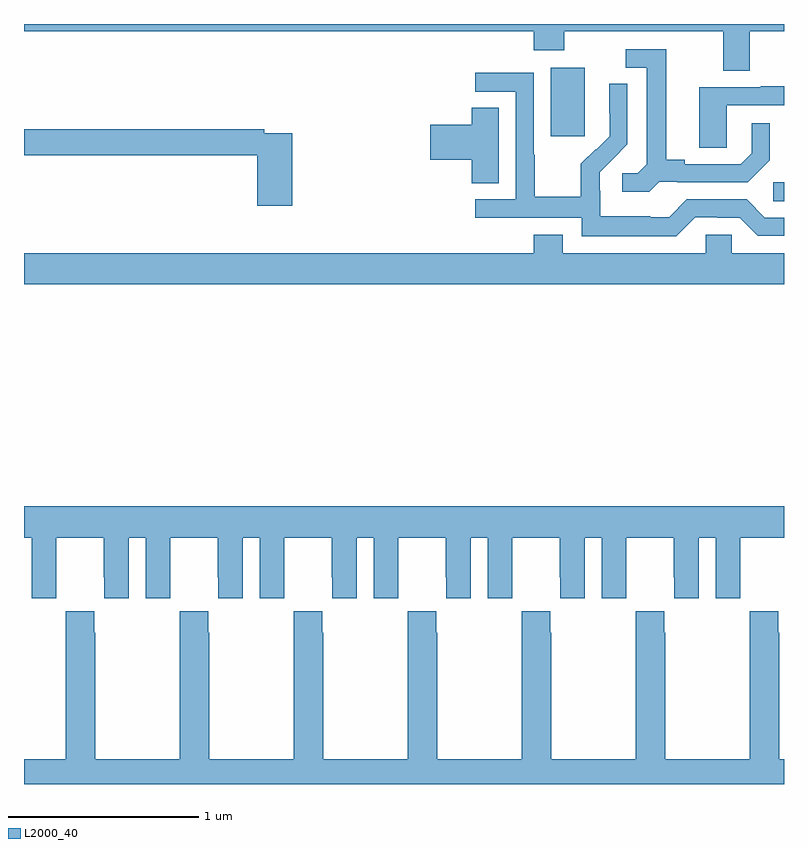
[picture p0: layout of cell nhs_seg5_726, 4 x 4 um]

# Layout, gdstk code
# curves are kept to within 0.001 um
import gdstk
lib = gdstk.Library(unit=1e-6, precision=1e-09)
def R(c, l, rs):  # rectangles x0, y0, x1, y1
    for r in rs: c.add(gdstk.rectangle(r[:2], r[2:], *l))
def P(c, l, *ps):  # polygons
    for p in ps: c.add(gdstk.Polygon(p, *l))
L2000_40 = (2000, 40)

nhs_seg5_726 = lib.new_cell('nhs_seg5_726')
R(nhs_seg5_726, L2000_40, [(160.944,855.865,161,855.966), (159.773,856.209,159.952,856.57)])
P(nhs_seg5_726, L2000_40, [(160.819,856.76),(161,856.76),(161,856.799),(157,856.799),(157,856.76),(159.683,856.76),(159.683,856.661),(159.843,856.661),(159.843,856.76),(160.679,856.76),(160.679,856.552),(160.819,856.552)],
  [(160.344,855.969),(160.438,855.969),(160.438,855.966),(160.81,855.966),(160.926,856.082),(160.926,856.276),(160.829,856.276),(160.829,856.119),(160.772,856.062),(160.477,856.062),(160.477,856.085),(160.381,856.085),(160.381,856.665),(160.167,856.665),(160.167,856.569),(160.277,856.569),(160.277,856.061),(160.23,856.014),(160.149,856.014),(160.149,855.917),(160.292,855.917)],
  [(160.533,855.783),(160.649,855.783),(160.649,855.78),(160.767,855.78),(160.863,855.684),(161,855.684),(161,855.78),(160.899,855.78),(160.803,855.876),(160.488,855.876),(160.395,855.783),(160.295,855.783),(160.295,855.787),(160.032,855.787),(160.032,855.921),(160.03,855.921),(160.03,856.018),(160.176,856.166),(160.176,856.484),(160.08,856.484),(160.08,856.33),(160.082,856.33),(160.082,856.208),(160.011,856.137),(160.008,856.14),(159.931,856.063),(159.931,855.889),(159.687,855.889),(159.687,856.112),(159.684,856.112),(159.684,856.542),(159.375,856.542),(159.375,856.443),(159.588,856.443),(159.588,855.876),(159.375,855.876),(159.375,855.78),(159.936,855.78),(159.936,855.683),(160.433,855.683)],
  [(160.698,856.371),(161,856.371),(161,856.471),(160.877,856.471),(160.877,856.467),(160.553,856.467),(160.553,856.147),(160.698,856.147)],
  [(159.499,856.358),(159.356,856.358),(159.356,856.268),(159.138,856.268),(159.138,856.085),(159.356,856.085),(159.356,855.961),(159.499,855.961)],
  [(158.411,856.224),(158.264,856.224),(158.264,856.244),(157,856.244),(157,856.108),(158.228,856.108),(158.228,855.843),(158.411,855.843)],
  [(161,855.592),(160.725,855.592),(160.725,855.69),(160.587,855.69),(160.587,855.592),(159.835,855.592),(159.835,855.691),(159.683,855.691),(159.683,855.592),(157,855.592),(157,855.428),(161,855.428)],
  [(157.17,853.888),(157.171,853.888),(157.171,854.096),(157.421,854.096),(157.421,853.888),(157.422,853.888),(157.422,853.776),(157.552,853.776),(157.552,854.096),(157.64,854.096),(157.64,853.776),(157.77,853.776),(157.77,853.888),(157.771,853.888),(157.771,854.096),(158.021,854.096),(158.021,853.888),(158.022,853.888),(158.022,853.776),(158.152,853.776),(158.152,854.096),(158.24,854.096),(158.24,853.776),(158.37,853.776),(158.37,853.888),(158.371,853.888),(158.371,854.096),(158.621,854.096),(158.621,853.888),(158.622,853.888),(158.622,853.776),(158.752,853.776),(158.752,854.096),(158.84,854.096),(158.84,853.776),(158.97,853.776),(158.97,853.888),(158.971,853.888),(158.971,854.096),(159.221,854.096),(159.221,853.888),(159.222,853.888),(159.222,853.776),(159.352,853.776),(159.352,854.096),(159.44,854.096),(159.44,853.776),(159.57,853.776),(159.57,853.888),(159.571,853.888),(159.571,854.096),(159.821,854.096),(159.821,853.888),(159.822,853.888),(159.822,853.776),(159.952,853.776),(159.952,854.096),(160.04,854.096),(160.04,853.776),(160.17,853.776),(160.17,853.888),(160.171,853.888),(160.171,854.096),(160.421,854.096),(160.421,853.888),(160.422,853.888),(160.422,853.776),(160.552,853.776),(160.552,854.096),(160.64,854.096),(160.64,853.776),(160.77,853.776),(160.77,853.888),(160.771,853.888),(160.771,854.096),(161,854.096),(161,854.26),(157,854.26),(157,854.096),(157.04,854.096),(157.04,853.776),(157.17,853.776)],
  [(158.574,853.595),(158.571,853.595),(158.571,853.708),(158.421,853.708),(158.421,853.595),(158.419,853.595),(158.419,852.928),(157.974,852.928),(157.974,853.595),(157.971,853.595),(157.971,853.708),(157.821,853.708),(157.821,853.595),(157.819,853.595),(157.819,852.928),(157.374,852.928),(157.374,853.595),(157.371,853.595),(157.371,853.708),(157.221,853.708),(157.221,853.595),(157.219,853.595),(157.219,852.928),(157,852.928),(157,852.799),(161,852.799),(161,852.928),(160.974,852.928),(160.974,853.595),(160.971,853.595),(160.971,853.708),(160.821,853.708),(160.821,853.595),(160.819,853.595),(160.819,852.928),(160.374,852.928),(160.374,853.595),(160.371,853.595),(160.371,853.708),(160.221,853.708),(160.221,853.595),(160.219,853.595),(160.219,852.928),(159.774,852.928),(159.774,853.595),(159.771,853.595),(159.771,853.708),(159.621,853.708),(159.621,853.595),(159.619,853.595),(159.619,852.928),(159.174,852.928),(159.174,853.595),(159.171,853.595),(159.171,853.708),(159.021,853.708),(159.021,853.595),(159.019,853.595),(159.019,852.928),(158.574,852.928)])

lib.write_gds('nhs_seg5_726.gds')
